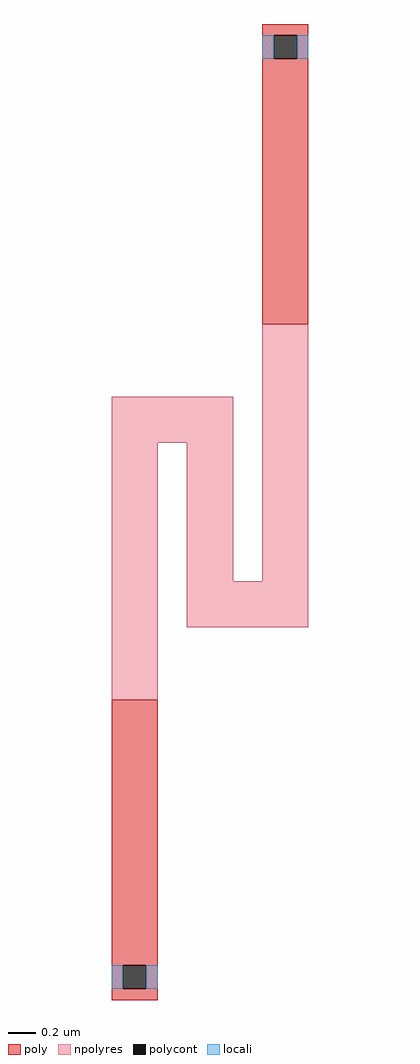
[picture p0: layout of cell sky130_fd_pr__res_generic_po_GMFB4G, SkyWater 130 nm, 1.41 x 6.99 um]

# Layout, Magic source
magic
tech sky130A
magscale 1 2
<< poly >>
rect 75 683 141 699
rect 75 649 91 683
rect 125 649 141 683
rect 75 269 141 649
rect -141 -649 -75 -269
rect -141 -683 -125 -649
rect -91 -683 -75 -649
rect -141 -699 -75 -683
<< polycont >>
rect 91 649 125 683
rect -125 -683 -91 -649
<< npolyres >>
rect -141 99 33 165
rect -141 -269 -75 99
rect -33 -99 33 99
rect 75 -99 141 269
rect -33 -165 141 -99
<< locali >>
rect 75 649 91 683
rect 125 649 141 683
rect -141 -683 -125 -649
rect -91 -683 -75 -649
<< properties >>
string gencell sky130_fd_pr__res_generic_po
string library sky130
string parameters w 0.33 l 1.65 m 1 nx 3 wmin 0.330 lmin 1.650 rho 48.2 val 936.248 dummy 0 dw 0.0 term 0.0 sterm 0.0 caplen 0.4 snake 1 guard 0 glc 1 grc 1 gtc 1 gbc 1 roverlap 0 endcov 100 full_metal 1 hv_guard 0 n_guard 0 vias 1 viagb 0 viagt 0 viagl 0 viagr 0
<< end >>
